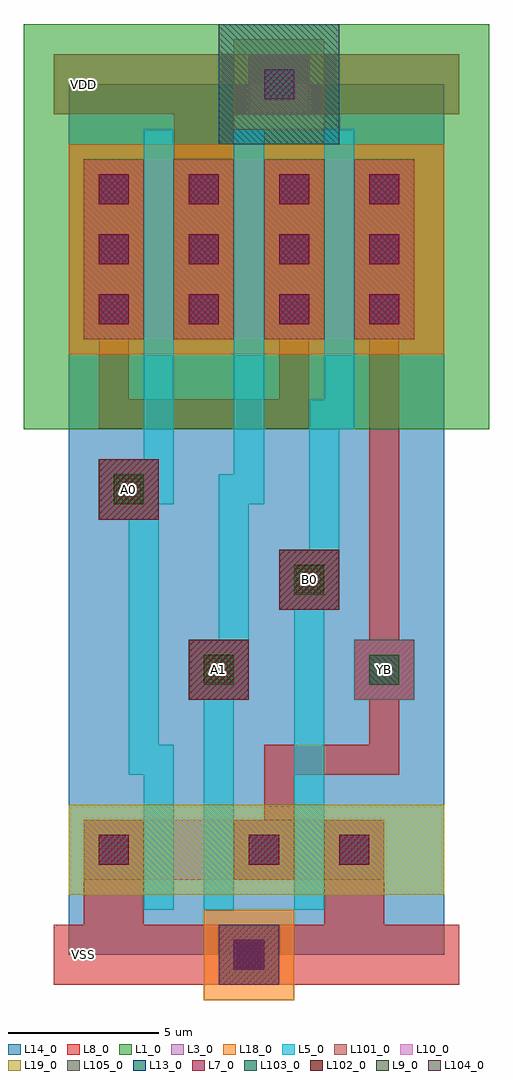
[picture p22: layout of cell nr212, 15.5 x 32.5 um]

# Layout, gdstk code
import gdstk
lib = gdstk.Library(unit=1e-6, precision=1e-09)
def R(c, l, rs):  # rectangles x0, y0, x1, y1
    for r in rs: c.add(gdstk.rectangle(r[:2], r[2:], *l))
L1_0 = (1, 0)
L3_0 = (3, 0)
L5_0 = (5, 0)
L7_0 = (7, 0)
L8_0 = (8, 0)
L9_0 = (9, 0)
L10_0 = (10, 0)
L13_0 = (13, 0)
L14_0 = (14, 0)
L18_0 = (18, 0)
L19_0 = (19, 0)
L101_0 = (101, 0)
L102_0 = (102, 0)
L103_0 = (103, 0)
L104_0 = (104, 0)
L105_0 = (105, 0)

dcont = lib.new_cell('dcont')
R(dcont, L3_0, [(-1,-1,1,1)])
R(dcont, L7_0, [(-0.5,-0.5,0.5,0.5)])
R(dcont, L8_0, [(-1,-1,1,1)])
R(dcont, L13_0, [(-0.5,-0.5,0.5,0.5)])
R(dcont, L101_0, [(-1,-1,1,1)])
dcont.add(gdstk.Label('dcont', (0,0), layer=13, texttype=0))

pcont = lib.new_cell('pcont')
R(pcont, L5_0, [(-1,-1,1,1)])
R(pcont, L7_0, [(-0.5,-0.5,0.5,0.5)])
R(pcont, L8_0, [(-1,-1,1,1)])
R(pcont, L102_0, [(-1,-1,1,1)])
pcont.add(gdstk.Label('pcont', (0,0), layer=13, texttype=0))

via = lib.new_cell('Via')
R(via, L8_0, [(-1,-1,1,1)])
R(via, L9_0, [(-0.5,-0.5,0.5,0.5)])
R(via, L10_0, [(-1,-1,1,1)])
R(via, L13_0, [(-0.5,-0.5,0.5,0.5)])
R(via, L105_0, [(-1,-1,1,1)])
via.add(gdstk.Label('via', (0,0), layer=13, texttype=0))

nsubcont = lib.new_cell('nsubcont')
R(nsubcont, L1_0, [(-2,-2,2,2)])
R(nsubcont, L19_0, [(-1.5,-1.5,1.5,1.5)])
R(nsubcont, L103_0, [(-2,-2,2,2)])
nsubcont.add(gdstk.Reference(dcont, (0,0)))
nsubcont.add(gdstk.Label('NScont', (0,0), layer=13, texttype=0))

psubcont = lib.new_cell('psubcont')
R(psubcont, L18_0, [(-1.5,-1.5,1.5,1.5)])
R(psubcont, L104_0, [(-1,-1,1,1)])
psubcont.add(gdstk.Reference(dcont, (0,0)))
psubcont.add(gdstk.Label('PScon', (0,0), layer=13, texttype=0))

nr212 = lib.new_cell('nr212')
R(nr212, L1_0, [(-1.5,17.5,14,31)])
R(nr212, L3_0, [(0.5,2.5,8.5,4.5), (8.5,2.5,10.5,4.5), (0.5,20.5,11.5,26.5)])
R(nr212, L8_0, [(-0.5,-1,13,1), (-0.5,-1,13,1), (4,8.5,6,10.5), (4,8.5,6,10.5), (9.5,8.5,11.5,10.5), (9.5,8.5,11.5,10.5), (7,11.5,9,13.5), (7,11.5,9,13.5), (1,14.5,3,16.5), (1,14.5,3,16.5), (-0.5,28,13,30), (-0.5,28,13,30)])
R(nr212, L10_0, [(4,8.5,6,10.5), (4,8.5,6,10.5), (9.5,8.5,11.5,10.5), (9.5,8.5,11.5,10.5), (7,11.5,9,13.5), (7,11.5,9,13.5), (1,14.5,3,16.5), (1,14.5,3,16.5)])
R(nr212, L14_0, [(0,0,12.5,29)])
R(nr212, L18_0, [(0,20,12.5,27)])
R(nr212, L19_0, [(0,2,12.5,5)])
R(nr212, L105_0, [(4,8.5,6,10.5), (9.5,8.5,11.5,10.5), (7,11.5,9,13.5), (1,14.5,3,16.5)])
nr212.add(gdstk.FlexPath([(3,27),(3,15.5),(2.5,15.5),(2.5,6.5),(3,6.5),(3,2)], 1, ends="extended", simple_path=True, layer=5, datatype=0))  # L5_0
nr212.add(gdstk.FlexPath([(6,27),(6,15.5),(5.5,15.5),(5.5,9.5),(5,9.5),(5,2)], 1, ends="extended", simple_path=True, layer=5, datatype=0))  # L5_0
nr212.add(gdstk.FlexPath([(9,27),(9,18),(8.5,18),(8.5,12),(8,12),(8,2)], 1, ends="extended", simple_path=True, layer=5, datatype=0))  # L5_0
nr212.add(gdstk.FlexPath([(1.5,1),(1.5,3.5)], 2, ends="extended", simple_path=True, layer=8, datatype=0))  # L8_0
nr212.add(gdstk.FlexPath([(1.5,22.3),(1.5,25.5)], 1.4, ends="extended", simple_path=True, layer=8, datatype=0))  # L8_0
nr212.add(gdstk.FlexPath([(1.5,24.5),(1.5,18),(7.5,18),(7.5,24.5)], 1, ends="extended", simple_path=True, layer=8, datatype=0))  # L8_0
nr212.add(gdstk.FlexPath([(4.5,21.5),(4.5,28.5)], 2, ends="extended", simple_path=True, layer=8, datatype=0))  # L8_0
nr212.add(gdstk.FlexPath([(10.5,20.5),(10.5,6.5),(7,6.5),(7,3.5)], 1, ends="extended", simple_path=True, layer=8, datatype=0))  # L8_0
nr212.add(gdstk.FlexPath([(9.5,1),(9.5,3.5)], 2, ends="extended", simple_path=True, layer=8, datatype=0))  # L8_0
nr212.add(gdstk.FlexPath([(10.5,22.3),(10.5,25.5)], 1.4, ends="extended", simple_path=True, layer=8, datatype=0))  # L8_0
nr212.add(gdstk.Reference(dcont, (4.5,25.5)))
nr212.add(gdstk.Reference(dcont, (1.5,23.5)))
nr212.add(gdstk.Reference(pcont, (2,15.5)))
nr212.add(gdstk.Reference(via, (5,9.5)))
nr212.add(gdstk.Reference(dcont, (4.5,21.5)))
nr212.add(gdstk.Reference(dcont, (7.5,25.5)))
nr212.add(gdstk.Reference(via, (10.5,9.5)))
nr212.add(gdstk.Reference(via, (2,15.5)))
nr212.add(gdstk.Reference(dcont, (10.5,21.5)))
nr212.add(gdstk.Reference(pcont, (5,9.5)))
nr212.add(gdstk.Reference(dcont, (1.5,3.5)))
nr212.add(gdstk.Reference(via, (8,12.5)))
nr212.add(gdstk.Reference(dcont, (4.5,23.5)))
nr212.add(gdstk.Reference(nsubcont, (7,29)))
nr212.add(gdstk.Reference(dcont, (7.5,23.5)))
nr212.add(gdstk.Reference(dcont, (1.5,21.5)))
nr212.add(gdstk.Reference(dcont, (7.5,21.5)))
nr212.add(gdstk.Reference(dcont, (1.5,25.5)))
nr212.add(gdstk.Reference(pcont, (8,12.5)))
nr212.add(gdstk.Reference(psubcont, (6,0)))
nr212.add(gdstk.Reference(dcont, (10.5,25.5)))
nr212.add(gdstk.Reference(dcont, (6.5,3.5)))
nr212.add(gdstk.Reference(dcont, (9.5,3.5)))
nr212.add(gdstk.Reference(dcont, (10.5,23.5)))
nr212.add(gdstk.Label('VSS', (0.5,0), layer=8, texttype=0))
nr212.add(gdstk.Label('VDD', (0.5,29), layer=8, texttype=0))
nr212.add(gdstk.Label('YB', (10.5,9.5), layer=10, texttype=0))
nr212.add(gdstk.Label('A0', (2,15.5), layer=10, texttype=0))
nr212.add(gdstk.Label('A1', (5,9.5), layer=10, texttype=0))
nr212.add(gdstk.Label('B0', (8,12.5), layer=10, texttype=0))

lib.write_gds('nr212.gds')
